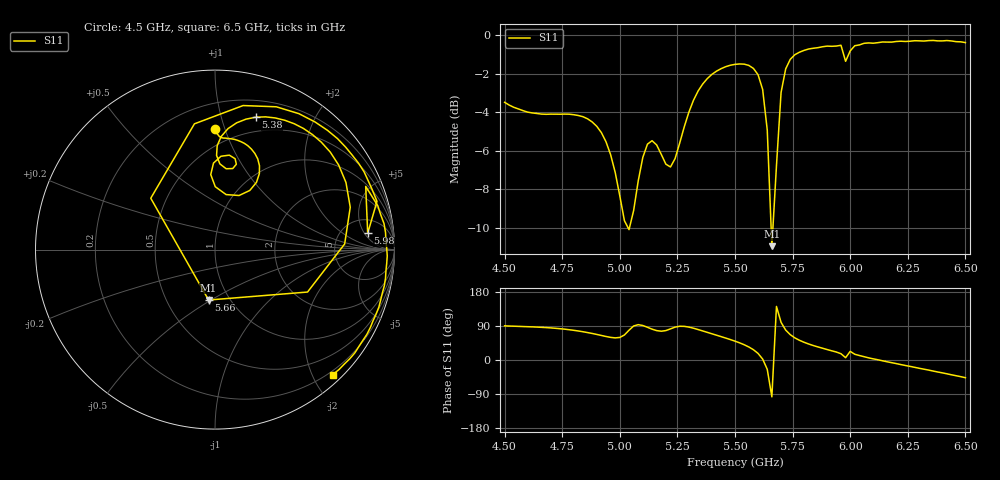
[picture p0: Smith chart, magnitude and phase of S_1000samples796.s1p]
! TOUCHSTONE file generated by CST MICROWAVE STUDIO
! Date and time: Sat Oct 29 10:15:23 2022
! Project name: L.cst
! Parameters = {Di=1.27; Epsilon_r=1.56; InnerDiameter=1.27; Length=2; Lf=10; Lg=60; OuterConductorThickness=0.2921; OuterDiameter=3.6; Wf=3; Wp=41.2; de=1.5; df=6.8; g=0.8; gx=1.14873; gy=4.34232; h=2.34; hf=1.524; px=14.1897; py=13.8122; w=9.7; wx=13.041; wy=9.46987}
! Header version: 2018
! Port assignment regex: !\s*Touchstone port\s*([0-9]+)\s*=\s*(CST MWS port|CST DS port)\s*([0-9]+|Zmin|Zmax)\s*\(\"(.*)\"\)(\s*mode\s*([0-9]+))?.*
! Touchstone port assignment:
! Touchstone port 1 = CST MWS port 1 ("")
# GHz S DB R 50
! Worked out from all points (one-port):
!   101 points, 4.5 GHz to 6.5 GHz, reference 50 ohm
!   lowest |S11| = -11.0 dB at 5.66 GHz (marker M1), VSWR 1.79, Z = 39.9 - j24.4 ohm
!   |S11| at or under -10 dB: 5.035775 GHz to 5.041986 GHz (6.211 MHz wide, 0.123 % of centre); 5.656822 GHz to 5.664585 GHz (7.763 MHz wide, 0.137 % of centre)
!   S11 on the Smith chart (normalised r, x): 4.5 GHz: 0.38, +0.92; 5.38 GHz: 0.35, +1.29; 5.66 GHz: 0.80, -0.49; 5.98 GHz: 9, +6; 6.5 GHz: 0.14, -2.31
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4.5  -3.49 90.2
4.76  -4.10 81.4
4.92  -5.06 64.8
5  -8.35 59.5
5.04  -10.10 78.6
5.08  -7.56 93.2
5.12  -5.66 86.3
5.18  -6.19 76.0
5.22  -6.84 82.1
5.26  -5.60 89.0
5.38  -2.25 72.9
5.5  -1.51 49.7
5.58  -1.72 27.1
5.62  -2.82 2.5
5.64  -4.93 -24.6
5.66  -10.96 -97.2
5.68  -6.78 141.4
5.7  -2.97 99.3
5.72  -1.75 79.0
5.76  -1.01 58.3
5.84  -0.68 38.1
5.94  -0.56 21.0
5.96  -0.52 16.6
5.98  -1.36 6.1
6  -0.81 22.7
6.08  -0.40 5.7
6.26  -0.31 -16.8
6.5  -0.38 -46.8
